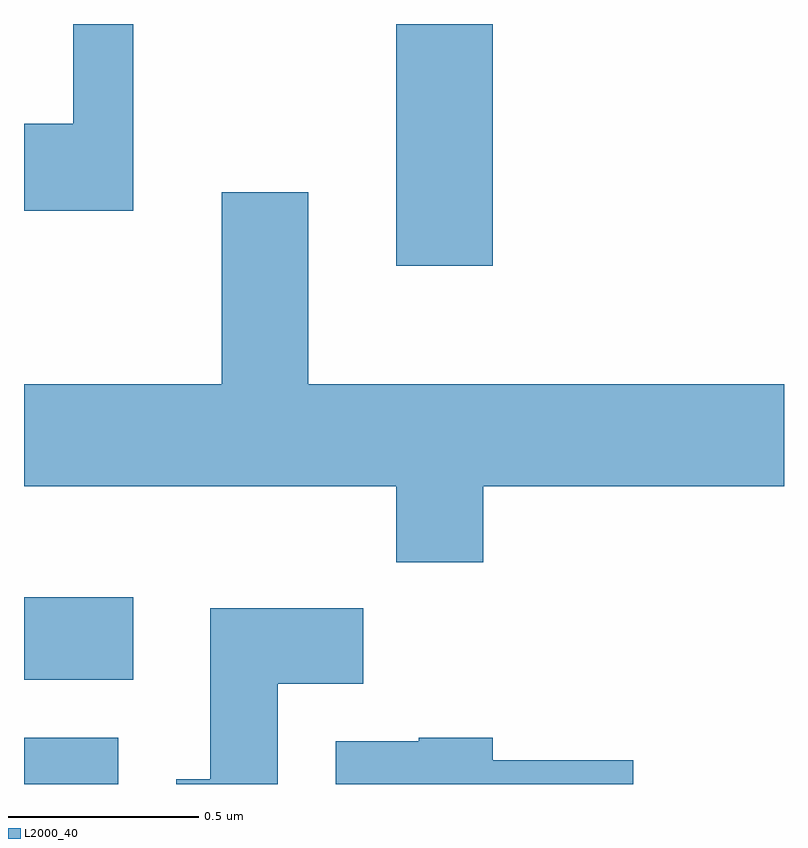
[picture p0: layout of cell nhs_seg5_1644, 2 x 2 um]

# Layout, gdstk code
import gdstk
lib = gdstk.Library(unit=1e-6, precision=1e-09)
def R(c, l, rs):  # rectangles x0, y0, x1, y1
    for r in rs: c.add(gdstk.rectangle(r[:2], r[2:], *l))
def P(c, l, *ps):  # polygons
    for p in ps: c.add(gdstk.Polygon(p, *l))
L2000_40 = (2000, 40)

nhs_seg5_1644 = lib.new_cell('nhs_seg5_1644')
R(nhs_seg5_1644, L2000_40, [(197.611,1396.072,197.859,1396.194), (197.611,1396.346,197.899,1396.564), (198.591,1397.436,198.844,1398.072)])
P(nhs_seg5_1644, L2000_40, [(197.899,1398.072),(197.741,1398.072),(197.741,1397.809),(197.611,1397.809),(197.611,1397.581),(197.899,1397.581)],
  [(198.819,1396.856),(199.611,1396.856),(199.611,1397.124),(198.359,1397.124),(198.359,1397.629),(198.131,1397.629),(198.131,1397.124),(197.611,1397.124),(197.611,1396.856),(198.591,1396.856),(198.591,1396.656),(198.819,1396.656)],
  [(198.279,1396.336),(198.504,1396.336),(198.504,1396.534),(198.101,1396.534),(198.101,1396.084),(198.011,1396.084),(198.011,1396.072),(198.279,1396.072)],
  [(199.214,1396.134),(198.844,1396.134),(198.844,1396.194),(198.65,1396.194),(198.65,1396.184),(198.431,1396.184),(198.431,1396.072),(199.214,1396.072)])

lib.write_gds('nhs_seg5_1644.gds')
